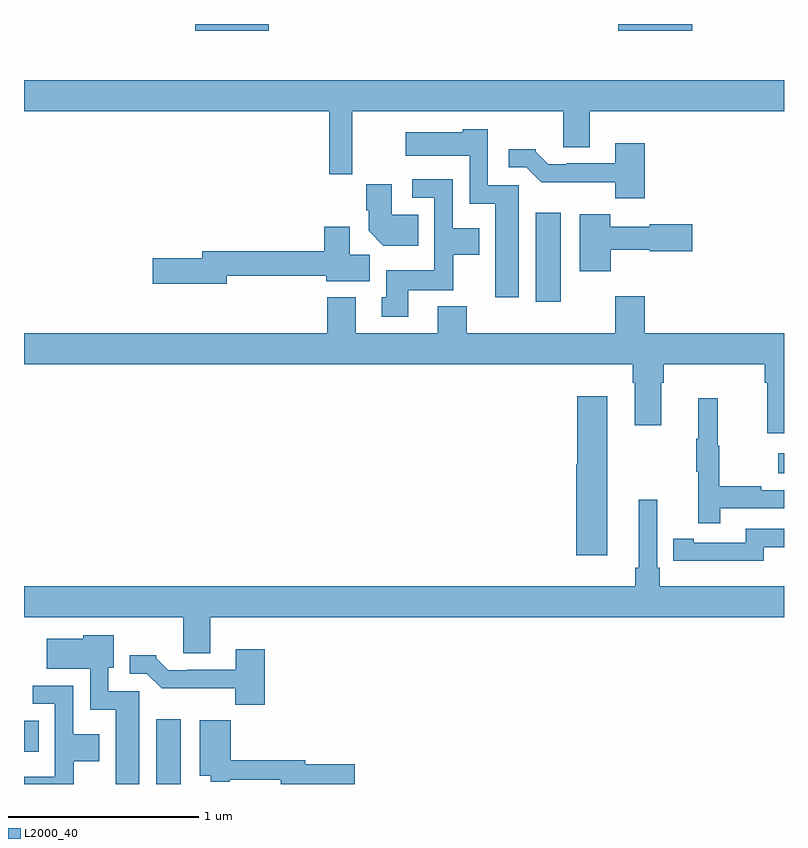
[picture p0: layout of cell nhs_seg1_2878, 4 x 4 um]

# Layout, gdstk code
import gdstk
lib = gdstk.Library(unit=1e-6, precision=1e-09)
def R(c, l, rs):  # rectangles x0, y0, x1, y1
    for r in rs: c.add(gdstk.rectangle(r[:2], r[2:], *l))
def P(c, l, *ps):  # polygons
    for p in ps: c.add(gdstk.Polygon(p, *l))
L2000_40 = (2000, 40)

nhs_seg1_2878 = lib.new_cell('nhs_seg1_2878')
R(nhs_seg1_2878, L2000_40, [(267.695,540.199,267.826,540.541), (267,540.368,267.077,540.532), (270.969,541.835,271,541.939), (269.693,542.736,269.824,543.205), (267.9,544.163,268.288,544.199), (270.128,544.163,270.517,544.199)])
P(nhs_seg1_2878, L2000_40, [(268.727,543.74),(269.837,543.74),(269.837,543.55),(269.977,543.55),(269.977,543.74),(271,543.74),(271,543.904),(267,543.904),(267,543.74),(268.606,543.74),(268.606,543.408),(268.727,543.408)],
  [(269.605,543.351),(269.442,543.351),(269.442,543.646),(269.31,543.646),(269.31,543.628),(269.01,543.628),(269.01,543.506),(269.346,543.506),(269.346,543.254),(269.48,543.254),(269.48,542.76),(269.605,542.76)],
  [(270.266,543.571),(270.113,543.571),(270.113,543.465),(269.857,543.465),(269.857,543.462),(269.758,543.462),(269.694,543.526),(269.694,543.541),(269.55,543.541),(269.55,543.444),(269.643,543.444),(269.722,543.366),(270.111,543.366),(270.111,543.281),(270.266,543.281)],
  [(269.023,542.798),(269.259,542.798),(269.259,542.984),(269.395,542.984),(269.395,543.124),(269.256,543.124),(269.256,543.381),(269.043,543.381),(269.043,543.285),(269.16,543.285),(269.16,542.902),(268.907,542.902),(268.907,542.76),(268.883,542.76),(268.883,542.658),(269.023,542.658)],
  [(269.075,543.196),(268.936,543.196),(268.936,543.355),(268.802,543.355),(268.802,543.22),(268.814,543.22),(268.814,543.11),(268.892,543.032),(269.075,543.032)],
  [(270.088,543.011),(270.294,543.011),(270.294,543.004),(270.517,543.004),(270.517,543.146),(270.294,543.146),(270.294,543.133),(270.086,543.133),(270.086,543.199),(269.924,543.199),(269.924,542.898),(270.088,542.898)],
  [(268.066,542.874),(268.592,542.874),(268.592,542.846),(268.819,542.846),(268.819,542.984),(268.714,542.984),(268.714,543.133),(268.58,543.133),(268.58,543.002),(267.938,543.002),(267.938,542.966),(267.678,542.966),(267.678,542.831),(268.066,542.831)],
  [(271,542.572),(270.266,542.572),(270.266,542.767),(270.113,542.767),(270.113,542.572),(269.33,542.572),(269.33,542.713),(269.177,542.713),(269.177,542.572),(268.747,542.572),(268.747,542.761),(268.595,542.761),(268.595,542.572),(267,542.572),(267,542.408),(270.203,542.408),(270.203,542.312),(270.215,542.312),(270.215,542.088),(270.355,542.088),(270.355,542.312),(270.368,542.312),(270.368,542.408),(270.899,542.408),(270.899,542.312),(270.911,542.312),(270.911,542.046),(271,542.046)],
  [(270.07,542.239),(269.912,542.239),(269.912,541.881),(269.906,541.881),(269.906,541.404),(270.07,541.404)],
  [(270.665,541.65),(271,541.65),(271,541.746),(270.881,541.746),(270.881,541.766),(270.658,541.766),(270.658,541.98),(270.65,541.98),(270.65,542.23),(270.548,542.23),(270.548,542.017),(270.537,542.017),(270.537,541.843),(270.548,541.843),(270.548,541.572),(270.665,541.572)],
  [(267.979,541.076),(271,541.076),(271,541.24),(270.347,541.24),(270.347,541.336),(270.333,541.336),(270.333,541.696),(270.236,541.696),(270.236,541.336),(270.217,541.336),(270.217,541.24),(267,541.24),(267,541.076),(267.839,541.076),(267.839,540.886),(267.979,540.886)],
  [(270.894,541.446),(271,541.446),(271,541.542),(270.798,541.542),(270.798,541.47),(270.526,541.47),(270.526,541.49),(270.418,541.49),(270.418,541.374),(270.526,541.374),(270.526,541.373),(270.894,541.373)],
  [(267.607,540.687),(267.444,540.687),(267.444,540.81),(267.472,540.81),(267.472,540.982),(267.312,540.982),(267.312,540.964),(267.12,540.964),(267.12,540.806),(267.348,540.806),(267.348,540.59),(267.482,540.59),(267.482,540.199),(267.607,540.199)],
  [(268.268,540.907),(268.115,540.907),(268.115,540.801),(267.859,540.801),(267.859,540.798),(267.76,540.798),(267.696,540.862),(267.696,540.877),(267.557,540.877),(267.557,540.78),(267.645,540.78),(267.724,540.702),(268.113,540.702),(268.113,540.617),(268.268,540.617)],
  [(267.261,540.32),(267.397,540.32),(267.397,540.46),(267.258,540.46),(267.258,540.717),(267.045,540.717),(267.045,540.621),(267.162,540.621),(267.162,540.238),(267,540.238),(267,540.199),(267.261,540.199)],
  [(268.741,540.302),(268.48,540.302),(268.48,540.323),(268.088,540.323),(268.088,540.535),(267.926,540.535),(267.926,540.242),(267.984,540.242),(267.984,540.21),(268.084,540.21),(268.084,540.222),(268.352,540.222),(268.352,540.199),(268.741,540.199)])

lib.write_gds('nhs_seg1_2878.gds')
